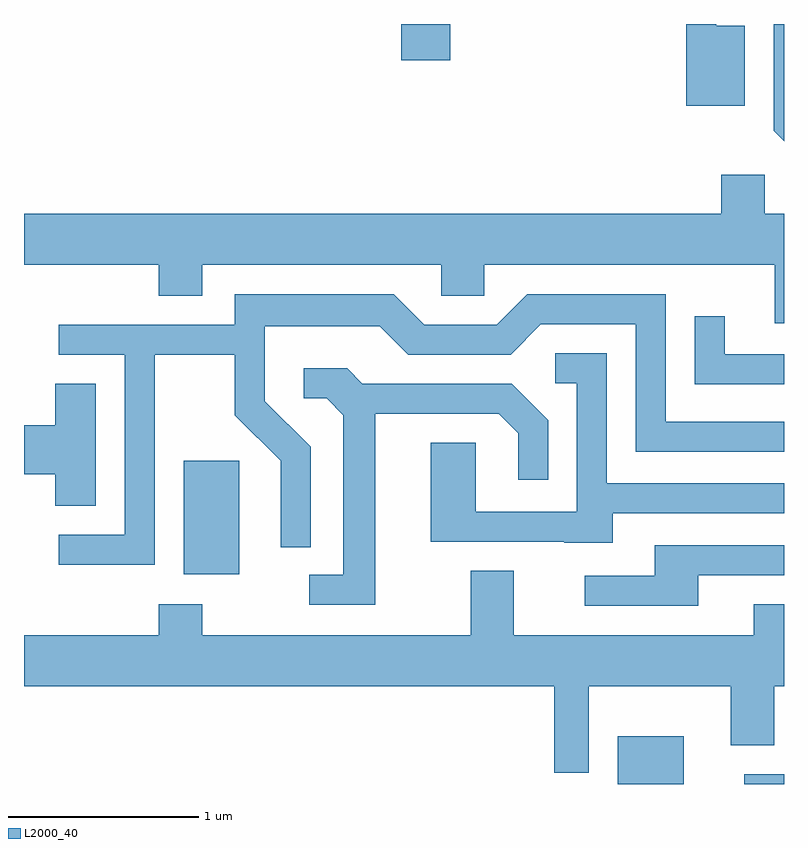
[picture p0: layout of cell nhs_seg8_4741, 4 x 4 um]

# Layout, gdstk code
import gdstk
lib = gdstk.Library(unit=1e-6, precision=1e-09)
def R(c, l, rs):  # rectangles x0, y0, x1, y1
    for r in rs: c.add(gdstk.rectangle(r[:2], r[2:], *l))
def P(c, l, *ps):  # polygons
    for p in ps: c.add(gdstk.Polygon(p, *l))
L2000_40 = (2000, 40)

nhs_seg8_4741 = lib.new_cell('nhs_seg8_4741')
R(nhs_seg8_4741, L2000_40, [(330.736,1840.342,331.084,1840.594), (331.401,1840.342,331.611,1840.394), (328.451,1841.446,328.744,1842.044), (329.596,1844.151,329.854,1844.342)])
P(nhs_seg8_4741, L2000_40, [(331.611,1844.342),(331.556,1844.342),(331.556,1843.779),(331.611,1843.724)],
  [(331.404,1844.334),(331.254,1844.334),(331.254,1844.342),(331.096,1844.342),(331.096,1843.911),(331.404,1843.911)],
  [(331.611,1843.344),(331.509,1843.344),(331.509,1843.549),(331.281,1843.549),(331.281,1843.344),(327.611,1843.344),(327.611,1843.076),(328.321,1843.076),(328.321,1842.911),(328.549,1842.911),(328.549,1843.076),(329.806,1843.076),(329.806,1842.911),(330.034,1842.911),(330.034,1843.076),(331.561,1843.076),(331.561,1842.766),(331.611,1842.766)],
  [(328.299,1842.601),(328.721,1842.601),(328.721,1842.284),(328.961,1842.044),(328.961,1841.588),(329.119,1841.588),(329.119,1842.117),(328.879,1842.357),(328.879,1842.751),(329.484,1842.751),(329.634,1842.601),(330.172,1842.601),(330.332,1842.761),(330.831,1842.761),(330.831,1842.091),(331.611,1842.091),(331.611,1842.249),(330.989,1842.249),(330.989,1842.919),(330.259,1842.919),(330.099,1842.759),(329.717,1842.759),(329.557,1842.919),(328.721,1842.919),(328.721,1842.759),(327.793,1842.759),(327.793,1842.601),(328.141,1842.601),(328.141,1841.654),(327.793,1841.654),(327.793,1841.496),(328.299,1841.496)],
  [(331.611,1842.604),(331.299,1842.604),(331.299,1842.803),(331.141,1842.803),(331.141,1842.446),(331.611,1842.446)],
  [(330.709,1841.766),(331.611,1841.766),(331.611,1841.924),(330.679,1841.924),(330.679,1842.609),(330.408,1842.609),(330.408,1842.451),(330.521,1842.451),(330.521,1841.774),(329.989,1841.774),(329.989,1842.139),(329.751,1842.139),(329.751,1841.616),(330.455,1841.616),(330.455,1841.611),(330.709,1841.611)],
  [(329.459,1842.291),(330.109,1842.291),(330.211,1842.189),(330.211,1841.943),(330.369,1841.943),(330.369,1842.257),(330.177,1842.449),(329.392,1842.449),(329.312,1842.529),(329.083,1842.529),(329.083,1842.371),(329.204,1842.371),(329.291,1842.284),(329.291,1841.444),(329.113,1841.444),(329.113,1841.286),(329.459,1841.286)],
  [(327.989,1842.449),(327.776,1842.449),(327.776,1842.229),(327.611,1842.229),(327.611,1841.971),(327.776,1841.971),(327.776,1841.806),(327.989,1841.806)],
  [(331.159,1841.441),(331.611,1841.441),(331.611,1841.599),(330.931,1841.599),(330.931,1841.439),(330.563,1841.439),(330.563,1841.281),(331.159,1841.281)],
  [(330.584,1840.856),(331.331,1840.856),(331.331,1840.546),(331.559,1840.546),(331.559,1840.856),(331.611,1840.856),(331.611,1841.289),(331.451,1841.289),(331.451,1841.124),(330.189,1841.124),(330.189,1841.464),(329.961,1841.464),(329.961,1841.124),(328.549,1841.124),(328.549,1841.289),(328.321,1841.289),(328.321,1841.124),(327.611,1841.124),(327.611,1840.856),(330.401,1840.856),(330.401,1840.401),(330.584,1840.401)])

lib.write_gds('nhs_seg8_4741.gds')
